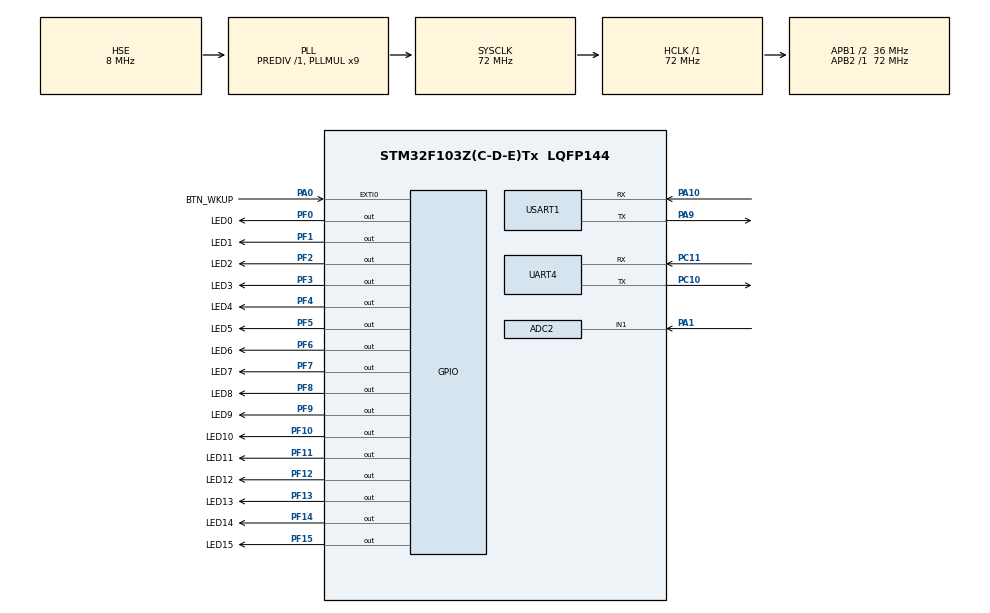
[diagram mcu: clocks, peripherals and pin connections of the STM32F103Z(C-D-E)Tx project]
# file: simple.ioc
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ADC1.Channel-3\#ChannelRegularConversion=ADC_CHANNEL_TEMPSENSOR
ADC1.NbrOfConversionFlag=1
ADC1.Rank-3\#ChannelRegularConversion=1
ADC1.SamplingTime-3\#ChannelRegularConversion=ADC_SAMPLETIME_239CYCLES_5
ADC1.master=1
ADC2.Channel-0\#ChannelRegularConversion=ADC_CHANNEL_1
ADC2.NbrOfConversionFlag=1
ADC2.Rank-0\#ChannelRegularConversion=1
ADC2.SamplingTime-0\#ChannelRegularConversion=ADC_SAMPLETIME_239CYCLES_5
FREERTOS.Tasks01=lab11_task1,8,128,start_lab11_task1,Default,NULL,Dynamic,NULL,NULL;lab11_task2,9,128,start_lab11_task2,Default,NULL,Dynamic,NULL,NULL
Mcu.Family=STM32F1
Mcu.Name=STM32F103Z(C-D-E)Tx
Mcu.Package=LQFP144
NVIC.ADC1_2_IRQn=true\:5\:0\:false\:false\:true\:true\:true\:true\:true
NVIC.EXTI0_IRQn=true\:5\:0\:true\:false\:true\:true\:true\:true\:true
NVIC.PriorityGroup=NVIC_PRIORITYGROUP_4
NVIC.TIM2_IRQn=true\:15\:0\:false\:false\:true\:false\:false\:true\:true
NVIC.TIM3_IRQn=true\:5\:0\:false\:false\:true\:true\:true\:true\:true
NVIC.TimeBase=TIM2_IRQn
NVIC.TimeBaseIP=TIM2
NVIC.UART4_IRQn=true\:5\:0\:false\:false\:true\:true\:true\:true\:true
NVIC.USART1_IRQn=true\:5\:0\:false\:false\:true\:true\:true\:true\:true
OSC_IN.Mode=HSE-External-Oscillator
OSC_IN.Signal=RCC_OSC_IN
OSC_OUT.Mode=HSE-External-Oscillator
OSC_OUT.Signal=RCC_OSC_OUT
PA0-WKUP.GPIO_Label=BTN_WKUP
PA0-WKUP.GPIO_ModeDefaultEXTI=GPIO_MODE_IT_FALLING
PA0-WKUP.Signal=GPXTI0
PA1.Signal=ADCx_IN1
PA10.Mode=Asynchronous
PA10.Signal=USART1_RX
PA13.Mode=Serial_Wire
PA13.Signal=SYS_JTMS-SWDIO
PA14.Mode=Serial_Wire
PA14.Signal=SYS_JTCK-SWCLK
PA9.Mode=Asynchronous
PA9.Signal=USART1_TX
PC10.Mode=Asynchronous
PC10.Signal=UART4_TX
PC11.Mode=Asynchronous
PC11.Signal=UART4_RX
PF0.GPIO_Label=LED0
PF0.GPIO_ModeDefaultOutputPP=GPIO_MODE_OUTPUT_PP
PF0.GPIO_PuPd=GPIO_NOPULL
PF0.GPIO_Speed=GPIO_SPEED_FREQ_LOW
PF0.PinState=GPIO_PIN_RESET
PF0.Signal=GPIO_Output
PF1.GPIO_Label=LED1
PF1.GPIO_ModeDefaultOutputPP=GPIO_MODE_OUTPUT_PP
PF1.GPIO_PuPd=GPIO_NOPULL
PF1.GPIO_Speed=GPIO_SPEED_FREQ_LOW
PF1.PinState=GPIO_PIN_RESET
PF1.Signal=GPIO_Output
PF10.GPIO_Label=LED10
PF10.GPIO_ModeDefaultOutputPP=GPIO_MODE_OUTPUT_PP
PF10.GPIO_PuPd=GPIO_NOPULL
PF10.GPIO_Speed=GPIO_SPEED_FREQ_LOW
PF10.PinState=GPIO_PIN_RESET
PF10.Signal=GPIO_Output
PF11.GPIO_Label=LED11
PF11.GPIO_ModeDefaultOutputPP=GPIO_MODE_OUTPUT_PP
PF11.GPIO_PuPd=GPIO_NOPULL
PF11.GPIO_Speed=GPIO_SPEED_FREQ_LOW
PF11.PinState=GPIO_PIN_RESET
PF11.Signal=GPIO_Output
PF12.GPIO_Label=LED12
PF12.GPIO_ModeDefaultOutputPP=GPIO_MODE_OUTPUT_PP
PF12.GPIO_PuPd=GPIO_NOPULL
PF12.GPIO_Speed=GPIO_SPEED_FREQ_LOW
PF12.PinState=GPIO_PIN_RESET
PF12.Signal=GPIO_Output
PF13.GPIO_Label=LED13
PF13.GPIO_ModeDefaultOutputPP=GPIO_MODE_OUTPUT_PP
PF13.GPIO_PuPd=GPIO_NOPULL
PF13.GPIO_Speed=GPIO_SPEED_FREQ_LOW
PF13.PinState=GPIO_PIN_RESET
PF13.Signal=GPIO_Output
PF14.GPIO_Label=LED14
PF14.GPIO_ModeDefaultOutputPP=GPIO_MODE_OUTPUT_PP
PF14.GPIO_PuPd=GPIO_NOPULL
PF14.GPIO_Speed=GPIO_SPEED_FREQ_LOW
PF14.PinState=GPIO_PIN_RESET
PF14.Signal=GPIO_Output
PF15.GPIO_Label=LED15
PF15.GPIO_ModeDefaultOutputPP=GPIO_MODE_OUTPUT_PP
PF15.GPIO_PuPd=GPIO_NOPULL
PF15.GPIO_Speed=GPIO_SPEED_FREQ_LOW
PF15.PinState=GPIO_PIN_RESET
PF15.Signal=GPIO_Output
PF2.GPIO_Label=LED2
PF2.GPIO_ModeDefaultOutputPP=GPIO_MODE_OUTPUT_PP
PF2.GPIO_PuPd=GPIO_NOPULL
PF2.GPIO_Speed=GPIO_SPEED_FREQ_LOW
PF2.PinState=GPIO_PIN_RESET
PF2.Signal=GPIO_Output
PF3.GPIO_Label=LED3
PF3.GPIO_ModeDefaultOutputPP=GPIO_MODE_OUTPUT_PP
PF3.GPIO_PuPd=GPIO_NOPULL
PF3.GPIO_Speed=GPIO_SPEED_FREQ_LOW
PF3.PinState=GPIO_PIN_RESET
PF3.Signal=GPIO_Output
PF4.GPIO_Label=LED4
PF4.GPIO_ModeDefaultOutputPP=GPIO_MODE_OUTPUT_PP
PF4.GPIO_PuPd=GPIO_NOPULL
PF4.GPIO_Speed=GPIO_SPEED_FREQ_LOW
PF4.PinState=GPIO_PIN_RESET
PF4.Signal=GPIO_Output
PF5.GPIO_Label=LED5
PF5.GPIO_ModeDefaultOutputPP=GPIO_MODE_OUTPUT_PP
PF5.GPIO_PuPd=GPIO_NOPULL
PF5.GPIO_Speed=GPIO_SPEED_FREQ_LOW
PF5.PinState=GPIO_PIN_RESET
PF5.Signal=GPIO_Output
PF6.GPIO_Label=LED6
PF6.GPIO_ModeDefaultOutputPP=GPIO_MODE_OUTPUT_PP
PF6.GPIO_PuPd=GPIO_NOPULL
PF6.GPIO_Speed=GPIO_SPEED_FREQ_LOW
PF6.PinState=GPIO_PIN_RESET
PF6.Signal=GPIO_Output
PF7.GPIO_Label=LED7
PF7.GPIO_ModeDefaultOutputPP=GPIO_MODE_OUTPUT_PP
PF7.GPIO_PuPd=GPIO_NOPULL
PF7.GPIO_Speed=GPIO_SPEED_FREQ_LOW
PF7.PinState=GPIO_PIN_RESET
PF7.Signal=GPIO_Output
PF8.GPIO_Label=LED8
PF8.GPIO_ModeDefaultOutputPP=GPIO_MODE_OUTPUT_PP
PF8.GPIO_PuPd=GPIO_NOPULL
PF8.GPIO_Speed=GPIO_SPEED_FREQ_LOW
PF8.PinState=GPIO_PIN_RESET
PF8.Signal=GPIO_Output
PF9.GPIO_Label=LED9
PF9.GPIO_ModeDefaultOutputPP=GPIO_MODE_OUTPUT_PP
PF9.GPIO_PuPd=GPIO_NOPULL
PF9.GPIO_Speed=GPIO_SPEED_FREQ_LOW
PF9.PinState=GPIO_PIN_RESET
PF9.Signal=GPIO_Output
ProjectManager.HeapSize=0x200
ProjectManager.StackSize=0x400
ProjectManager.TargetToolchain=Makefile
RCC.ADCPresc=RCC_ADCPCLK2_DIV6
RCC.AHBFreq_Value=72000000
RCC.APB1CLKDivider=RCC_HCLK_DIV2
RCC.APB1Freq_Value=36000000
RCC.APB1TimFreq_Value=72000000
RCC.APB2Freq_Value=72000000
RCC.APB2TimFreq_Value=72000000
RCC.HCLKFreq_Value=72000000
RCC.PLLMUL=RCC_PLL_MUL9
RCC.PLLSourceVirtual=RCC_PLLSOURCE_HSE
RCC.SYSCLKFreq_VALUE=72000000
RCC.SYSCLKSource=RCC_SYSCLKSOURCE_PLLCLK
RCC.USBFreq_Value=72000000
SH.ADCx_IN1.0=ADC2_IN1,IN1
TIM3.AutoReloadPreload=TIM_AUTORELOAD_PRELOAD_ENABLE
TIM3.Period=4999
TIM3.Prescaler=7199
UART4.VirtualMode=Asynchronous
USART1.VirtualMode=VM_ASYNC
VP_ADC1_TempSens_Input.Mode=IN-TempSens
VP_FREERTOS_VS_CMSIS_V2.Mode=CMSIS_V2
VP_SYS_VS_tim2.Mode=TIM2
VP_TIM3_VS_ClockSourceINT.Mode=Internal
board=custom

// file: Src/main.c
/* USER CODE BEGIN Header */
/**
 ******************************************************************************
 * @file           : main.c
 * @brief          : Main program body
 ******************************************************************************
 * @attention
 *
 * Copyright (c) 2024 STMicroelectronics.
 * All rights reserved.
 *
 * This software is licensed under terms that can be found in the LICENSE file
 * in the root directory of this software component.
 * If no LICENSE file comes with this software, it is provided AS-IS.
 *
 ******************************************************************************
 */
/* USER CODE END Header */
#include "main.h"
#include "adc.h"
#include "cmsis_os.h"
#include "gpio.h"
#include "tim.h"
#include "usart.h"

/* USER CODE BEGIN Includes */

#include "cpp_start.h"

/* USER CODE END Includes */

void SystemClock_Config(void);
void MX_FREERTOS_Init(void);
/* USER CODE BEGIN PFP */

#ifdef __GNUC__
/* With GCC, small printf (option LD Linker->Libraries->Small printf
   set to 'Yes') calls __io_putchar() */
#define PUTCHAR_PROTOTYPE int __io_putchar(int ch)
#else
#define PUTCHAR_PROTOTYPE int fputc(int ch, FILE *f)
#endif /* __GNUC__ */

/* USER CODE END PFP */

/* USER CODE BEGIN 0 */

PUTCHAR_PROTOTYPE {
  HAL_UART_Transmit(&huart1, (uint8_t *)&ch, 1, 0xFFFF);
  return ch;
}

/* USER CODE END 0 */

int main(void) {

  /* MCU Configuration--------------------------------------------------------*/

  /* Reset of all peripherals, Initializes the Flash interface and the Systick.
   */
  HAL_Init();

  /* Configure the system clock */
  SystemClock_Config();

  /* Initialize all configured peripherals */
  MX_GPIO_Init();
  MX_TIM3_Init();
  MX_USART1_UART_Init();
  MX_UART4_Init();
  MX_ADC1_Init();
  MX_ADC2_Init();
  /* USER CODE BEGIN 2 */

  cpp_start();

  /* USER CODE END 2 */

  /* Init scheduler */
  osKernelInitialize();

  /* Call init function for freertos objects (in cmsis_os2.c) */
  MX_FREERTOS_Init();

  /* Start scheduler */
  osKernelStart();

  /* We should never get here as control is now taken by the scheduler */

  /* Infinite loop */
  while (1) {

  }
}

void SystemClock_Config(void) {
  RCC_OscInitTypeDef RCC_OscInitStruct = {0};
  RCC_ClkInitTypeDef RCC_ClkInitStruct = {0};
  RCC_PeriphCLKInitTypeDef PeriphClkInit = {0};

  /** Initializes the RCC Oscillators according to the specified parameters
   * in the RCC_OscInitTypeDef structure.
   */
  RCC_OscInitStruct.OscillatorType = RCC_OSCILLATORTYPE_HSE;
  RCC_OscInitStruct.HSEState = RCC_HSE_ON;
  RCC_OscInitStruct.HSEPredivValue = RCC_HSE_PREDIV_DIV1;
  RCC_OscInitStruct.HSIState = RCC_HSI_ON;
  RCC_OscInitStruct.PLL.PLLState = RCC_PLL_ON;
  RCC_OscInitStruct.PLL.PLLSource = RCC_PLLSOURCE_HSE;
  RCC_OscInitStruct.PLL.PLLMUL = RCC_PLL_MUL9;
  if (HAL_RCC_OscConfig(&RCC_OscInitStruct) != HAL_OK) {
    Error_Handler();
  }

  /** Initializes the CPU, AHB and APB buses clocks
   */
  RCC_ClkInitStruct.ClockType = RCC_CLOCKTYPE_HCLK | RCC_CLOCKTYPE_SYSCLK |
                                RCC_CLOCKTYPE_PCLK1 | RCC_CLOCKTYPE_PCLK2;
  RCC_ClkInitStruct.SYSCLKSource = RCC_SYSCLKSOURCE_PLLCLK;
  RCC_ClkInitStruct.AHBCLKDivider = RCC_SYSCLK_DIV1;
  RCC_ClkInitStruct.APB1CLKDivider = RCC_HCLK_DIV2;
  RCC_ClkInitStruct.APB2CLKDivider = RCC_HCLK_DIV1;

  if (HAL_RCC_ClockConfig(&RCC_ClkInitStruct, FLASH_LATENCY_2) != HAL_OK) {
    Error_Handler();
  }
  PeriphClkInit.PeriphClockSelection = RCC_PERIPHCLK_ADC;
  PeriphClkInit.AdcClockSelection = RCC_ADCPCLK2_DIV6;
  if (HAL_RCCEx_PeriphCLKConfig(&PeriphClkInit) != HAL_OK) {
    Error_Handler();
  }
}

void HAL_TIM_PeriodElapsedCallback(TIM_HandleTypeDef *htim) {
  /* USER CODE BEGIN Callback 0 */

  tim_period_elapsed_callback(htim);

  /* USER CODE END Callback 0 */
  if (htim->Instance == TIM2) {
    HAL_IncTick();
  }
}

void Error_Handler(void) {
  __disable_irq();
  while (1) {
  }
}

#ifdef USE_FULL_ASSERT
/**
 * @brief  Reports the name of the source file and the source line number
 *         where the assert_param error has occurred.
 * @param  file: pointer to the source file name
 * @param  line: assert_param error line source number
 * @retval None
 */
void assert_failed(uint8_t *file, uint32_t line) {
  /* USER CODE BEGIN 6 */
  /* User can add his own implementation to report the file name and line
     number, ex: printf("Wrong parameters value: file %s on line %d\r\n", file,
     line) */
  /* USER CODE END 6 */
}
#endif /* USE_FULL_ASSERT */

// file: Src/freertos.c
/* USER CODE BEGIN Header */
/**
 ******************************************************************************
 * File Name          : freertos.c
 * Description        : Code for freertos applications
 ******************************************************************************
 * @attention
 *
 * Copyright (c) 2024 STMicroelectronics.
 * All rights reserved.
 *
 * This software is licensed under terms that can be found in the LICENSE file
 * in the root directory of this software component.
 * If no LICENSE file comes with this software, it is provided AS-IS.
 *
 ******************************************************************************
 */
/* USER CODE END Header */

#include "FreeRTOS.h"
#include "cmsis_os.h"
#include "main.h"
#include "task.h"

/* USER CODE BEGIN Includes */
#include "cpp_start.h"

/* USER CODE END Includes */

/* Definitions for lab11_task1 */
osThreadId_t lab11_task1Handle;
const osThreadAttr_t lab11_task1_attributes = {
    .name = "lab11_task1",
    .stack_size = 128 * 4,
    .priority = (osPriority_t)osPriorityLow,
};
/* Definitions for lab11_task2 */
osThreadId_t lab11_task2Handle;
const osThreadAttr_t lab11_task2_attributes = {
    .name = "lab11_task2",
    .stack_size = 128 * 4,
    .priority = (osPriority_t)osPriorityLow1,
};

void start_lab11_task1(void *argument);
void start_lab11_task2(void *argument);

void MX_FREERTOS_Init(void); /* (MISRA C 2004 rule 8.1) */

void MX_FREERTOS_Init(void) {

  /* Create the thread(s) */
  /* creation of lab11_task1 */
  lab11_task1Handle =
      osThreadNew(start_lab11_task1, NULL, &lab11_task1_attributes);

  /* creation of lab11_task2 */
  lab11_task2Handle =
      osThreadNew(start_lab11_task2, NULL, &lab11_task2_attributes);

}

void start_lab11_task1(void *argument) {
  /* USER CODE BEGIN start_lab11_task1 */
  cpp_start_lab11_task1();
  /* USER CODE END start_lab11_task1 */
}

void start_lab11_task2(void *argument) {
  /* USER CODE BEGIN start_lab11_task2 */
  cpp_start_lab11_task2();
  /* USER CODE END start_lab11_task2 */
}
